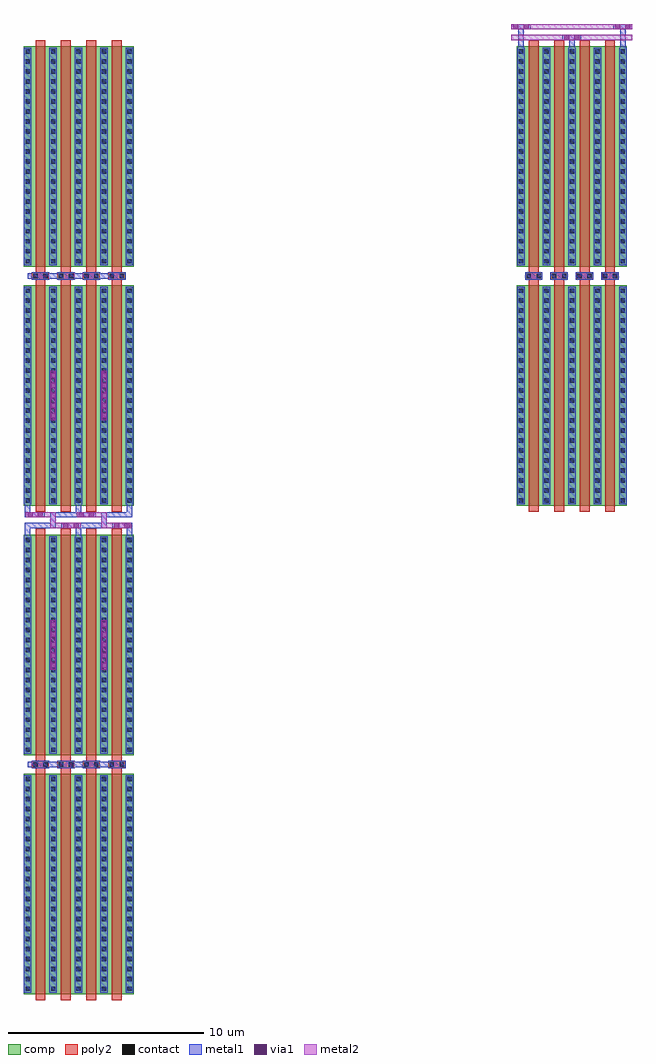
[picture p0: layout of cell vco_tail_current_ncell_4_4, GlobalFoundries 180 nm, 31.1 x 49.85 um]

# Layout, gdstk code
import gdstk
lib = gdstk.Library(unit=1e-6, precision=5e-09)
def R(c, l, rs):  # rectangles x0, y0, x1, y1
    for r in rs: c.add(gdstk.rectangle(r[:2], r[2:], *l))
def A(c, l, x, y, w, h, nx, ny, dx, dy):  # array of equal rectangles
    R(c, l, [(x+i*dx, y+j*dy, x+i*dx+w, y+j*dy+h) for i in range(nx) for j in range(ny)])
comp = (22, 0)
poly2 = (30, 0)
contact = (33, 0)
metal1 = (34, 0)
via1 = (35, 0)
metal2 = (36, 0)

vco_tail_current_ncell_1 = lib.new_cell('vco_tail_current_ncell_1$1')
R(vco_tail_current_ncell_1, comp, [(0,0.3,0.42,11.55), (0.42,0.3,1.3,11.55), (1.3,0.3,1.72,11.55)])
R(vco_tail_current_ncell_1, poly2, [(0.61,0,1.11,11.85)])
A(vco_tail_current_ncell_1, contact, 0.1, 0.46, 0.22, 0.22, 1, 22, 0, 0.51)
A(vco_tail_current_ncell_1, contact, 1.4, 0.46, 0.22, 0.22, 1, 22, 0, 0.51)
R(vco_tail_current_ncell_1, metal1, [(0.02,0.38,0.4,11.47), (1.32,0.38,1.7,11.47)])

vco_tail_current_ncell_4 = lib.new_cell('vco_tail_current_ncell_4')
A(vco_tail_current_ncell_4, poly2, 0.425, 11.85, 0.87, 0.36, 4, 1, 1.3, 0)
R(vco_tail_current_ncell_4, contact, [(0.495,11.92,0.715,12.14), (1.005,11.92,1.225,12.14), (1.795,11.92,2.015,12.14), (2.305,11.92,2.525,12.14), (3.095,11.92,3.315,12.14), (3.605,11.92,3.825,12.14), (4.395,11.92,4.615,12.14), (4.905,11.92,5.125,12.14)])
A(vco_tail_current_ncell_4, metal1, 0.415, 11.84, 0.89, 0.38, 4, 1, 1.3, 0)
vco_tail_current_ncell_4.add(gdstk.Reference(vco_tail_current_ncell_1, (0,0)))
vco_tail_current_ncell_4.add(gdstk.Reference(vco_tail_current_ncell_1, (1.3,0)))
vco_tail_current_ncell_4.add(gdstk.Reference(vco_tail_current_ncell_1, (2.6,0)))
vco_tail_current_ncell_4.add(gdstk.Reference(vco_tail_current_ncell_1, (3.9,0)))

c_vco_tail_current_ncell_4 = lib.new_cell('vco_tail_current_ncell_4_4')
A(c_vco_tail_current_ncell_4, via1, 1.38, 16.965, 0.26, 0.26, 1, 5, 0, 0.52)
A(c_vco_tail_current_ncell_4, via1, 3.98, 16.965, 0.26, 0.26, 1, 5, 0, 0.52)
A(c_vco_tail_current_ncell_4, via1, 1.38, 29.705, 0.26, 0.26, 1, 5, 0, 0.52)
A(c_vco_tail_current_ncell_4, via1, 3.98, 29.705, 0.26, 0.26, 1, 5, 0, 0.52)
R(c_vco_tail_current_ncell_4, via1, [(2.03,24.095,2.29,24.355), (2.55,24.095,2.81,24.355), (4.63,24.095,4.89,24.355), (5.15,24.095,5.41,24.355), (0.21,24.655,0.47,24.915), (0.73,24.655,0.99,24.915), (2.81,24.655,3.07,24.915), (3.33,24.655,3.59,24.915), (27.615,49.02,27.875,49.28), (28.135,49.02,28.395,49.28), (25.015,49.58,25.275,49.84), (25.535,49.58,25.795,49.84), (30.215,49.58,30.475,49.84), (30.735,49.58,30.995,49.84)])
c_vco_tail_current_ncell_4.add(gdstk.FlexPath([(2.81,25.33),(2.81,24.925)], 0.28, ends="flush", simple_path=True, layer=34, datatype=0))  # metal1
c_vco_tail_current_ncell_4.add(gdstk.FlexPath([(2.81,23.68),(2.81,24.085)], 0.28, ends="flush", simple_path=True, layer=34, datatype=0))  # metal1
c_vco_tail_current_ncell_4.add(gdstk.FlexPath([(0.21,23.68),(0.21,24.085)], 0.28, ends="flush", simple_path=True, layer=34, datatype=0))  # metal1
c_vco_tail_current_ncell_4.add(gdstk.FlexPath([(0.21,25.33),(0.21,24.925)], 0.28, ends="flush", simple_path=True, layer=34, datatype=0))  # metal1
c_vco_tail_current_ncell_4.add(gdstk.FlexPath([(2.91,24.785),(1.51,24.785),(1.51,24.225),(0.07,24.225)], 0.28, ends="flush", simple_path=True, layer=34, datatype=0))  # metal1
c_vco_tail_current_ncell_4.add(gdstk.FlexPath([(1.09,24.785),(0.07,24.785)], 0.28, ends="flush", simple_path=True, layer=34, datatype=0))  # metal1
c_vco_tail_current_ncell_4.add(gdstk.FlexPath([(5.41,23.68),(5.41,24.085)], 0.28, ends="flush", simple_path=True, layer=34, datatype=0))  # metal1
c_vco_tail_current_ncell_4.add(gdstk.FlexPath([(5.55,24.785),(4.11,24.785),(4.11,24.225),(2.71,24.225)], 0.28, ends="flush", simple_path=True, layer=34, datatype=0))  # metal1
c_vco_tail_current_ncell_4.add(gdstk.FlexPath([(3.69,24.785),(2.71,24.785)], 0.28, ends="flush", simple_path=True, layer=34, datatype=0))  # metal1
c_vco_tail_current_ncell_4.add(gdstk.FlexPath([(5.41,25.33),(5.41,24.925)], 0.28, ends="flush", simple_path=True, layer=34, datatype=0))  # metal1
c_vco_tail_current_ncell_4.add(gdstk.FlexPath([(2.81,23.68),(2.81,24.085)], 0.28, ends="flush", simple_path=True, layer=34, datatype=0))  # metal1
c_vco_tail_current_ncell_4.add(gdstk.FlexPath([(5.55,24.225),(4.53,24.225)], 0.28, ends="flush", simple_path=True, layer=34, datatype=0))  # metal1
c_vco_tail_current_ncell_4.add(gdstk.FlexPath([(2.81,25.33),(2.81,24.925)], 0.28, ends="flush", simple_path=True, layer=34, datatype=0))  # metal1
c_vco_tail_current_ncell_4.add(gdstk.FlexPath([(2.91,24.225),(1.93,24.225)], 0.28, ends="flush", simple_path=True, layer=34, datatype=0))  # metal1
c_vco_tail_current_ncell_4.add(gdstk.FlexPath([(4.315,36.98),(0.21,36.98)], 0.28, ends="flush", simple_path=True, layer=34, datatype=0))  # metal1
c_vco_tail_current_ncell_4.add(gdstk.FlexPath([(4.315,12.03),(0.21,12.03)], 0.28, ends="flush", simple_path=True, layer=34, datatype=0))  # metal1
c_vco_tail_current_ncell_4.add(gdstk.FlexPath([(27.515,49.15),(28.495,49.15)], 0.28, ends="flush", simple_path=True, layer=34, datatype=0))  # metal1
c_vco_tail_current_ncell_4.add(gdstk.FlexPath([(28.005,48.63),(28.005,49.01)], 0.28, ends="flush", simple_path=True, layer=34, datatype=0))  # metal1
c_vco_tail_current_ncell_4.add(gdstk.FlexPath([(30.115,49.71),(31.095,49.71)], 0.28, ends="flush", simple_path=True, layer=34, datatype=0))  # metal1
c_vco_tail_current_ncell_4.add(gdstk.FlexPath([(30.605,48.63),(30.605,49.57)], 0.28, ends="flush", simple_path=True, layer=34, datatype=0))  # metal1
c_vco_tail_current_ncell_4.add(gdstk.FlexPath([(24.915,49.71),(25.895,49.71)], 0.28, ends="flush", simple_path=True, layer=34, datatype=0))  # metal1
c_vco_tail_current_ncell_4.add(gdstk.FlexPath([(25.405,48.63),(25.405,49.57)], 0.28, ends="flush", simple_path=True, layer=34, datatype=0))  # metal1
c_vco_tail_current_ncell_4.add(gdstk.FlexPath([(1.51,29.605),(1.51,32.145)], 0.28, ends="flush", simple_path=True, layer=36, datatype=0))  # metal2
c_vco_tail_current_ncell_4.add(gdstk.FlexPath([(2.91,24.225),(1.51,24.225),(1.51,24.785),(0.11,24.785)], 0.28, ends="flush", simple_path=True, layer=36, datatype=0))  # metal2
c_vco_tail_current_ncell_4.add(gdstk.FlexPath([(1.51,19.405),(1.51,16.865)], 0.28, ends="flush", simple_path=True, layer=36, datatype=0))  # metal2
c_vco_tail_current_ncell_4.add(gdstk.FlexPath([(4.11,19.405),(4.11,16.865)], 0.28, ends="flush", simple_path=True, layer=36, datatype=0))  # metal2
c_vco_tail_current_ncell_4.add(gdstk.FlexPath([(24.915,49.15),(31.095,49.15)], 0.28, ends="flush", simple_path=True, layer=36, datatype=0))  # metal2
c_vco_tail_current_ncell_4.add(gdstk.FlexPath([(24.915,49.71),(31.095,49.71)], 0.28, ends="flush", simple_path=True, layer=36, datatype=0))  # metal2
c_vco_tail_current_ncell_4.add(gdstk.FlexPath([(5.51,24.225),(4.11,24.225),(4.11,24.785),(2.71,24.785)], 0.28, ends="flush", simple_path=True, layer=36, datatype=0))  # metal2
c_vco_tail_current_ncell_4.add(gdstk.FlexPath([(4.11,29.605),(4.11,32.145)], 0.28, ends="flush", simple_path=True, layer=36, datatype=0))  # metal2
c_vco_tail_current_ncell_4.add(gdstk.Reference(vco_tail_current_ncell_4, (0,24.06), x_reflection=True))
c_vco_tail_current_ncell_4.add(gdstk.Reference(vco_tail_current_ncell_4, (0,24.95)))
c_vco_tail_current_ncell_4.add(gdstk.Reference(vco_tail_current_ncell_4, (0,49.01), x_reflection=True))
c_vco_tail_current_ncell_4.add(gdstk.Reference(vco_tail_current_ncell_4, (0,0)))
c_vco_tail_current_ncell_4.add(gdstk.Reference(vco_tail_current_ncell_4, (25.195,24.95)))
c_vco_tail_current_ncell_4.add(gdstk.Reference(vco_tail_current_ncell_4, (25.195,49.01), x_reflection=True))

lib.write_gds('vco_tail_current_ncell_4_4.gds')
